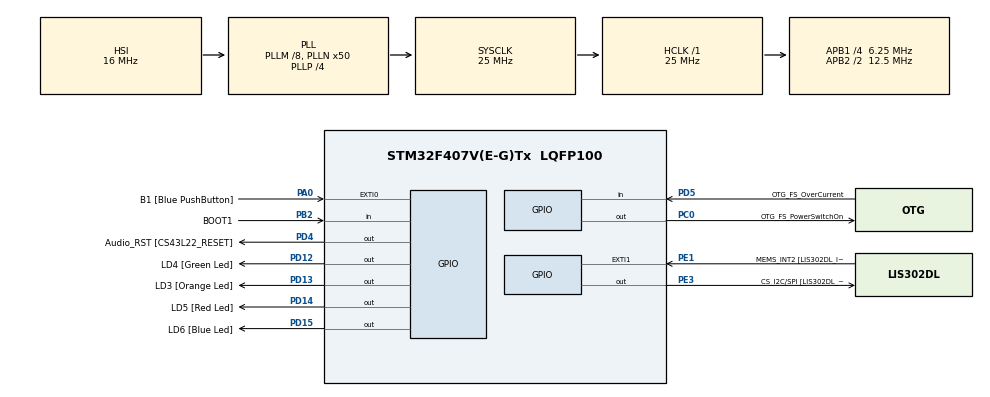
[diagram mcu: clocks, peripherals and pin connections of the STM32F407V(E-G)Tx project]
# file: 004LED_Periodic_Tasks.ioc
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Mcu.Family=STM32F4
PA11.GPIO_Speed=GPIO_SPEED_FREQ_LOW
PC3.GPIO_Mode=GPIO_MODE_AF_PP
PD12.GPIO_Label=LD4 [Green Led]
PH0-OSC_IN.Signal=RCC_OSC_IN
VP_SYS_VS_tim6.Mode=TIM6
RCC.CortexFreq_Value=25000000
PC10.GPIO_PuPd=GPIO_NOPULL
PB10.GPIO_Speed=GPIO_SPEED_FREQ_LOW
PB6.GPIO_Mode=GPIO_MODE_AF_OD
PB10.GPIO_PuPd=GPIO_NOPULL
NVIC.TIM6_DAC_IRQn=true\:0\:0\:false\:false\:true\:false\:true
PA10.GPIO_PuPd=GPIO_NOPULL
PD15.GPIO_Speed=GPIO_SPEED_FREQ_LOW
PC10.Signal=I2S3_CK
PC12.Signal=I2S3_SD
PA14.GPIO_Label=SWCLK
PA7.GPIO_Mode=GPIO_MODE_AF_PP
PC0.GPIO_Label=OTG_FS_PowerSwitchOn
PA6.GPIO_Label=SPI1_MISO [LIS302DL_SDO]
PB6.GPIO_Label=Audio_SCL [CS43L22_SCL]
PC10.GPIO_Speed=GPIO_SPEED_FREQ_LOW
PA11.GPIO_PuPd=GPIO_NOPULL
PC15-OSC32_OUT.GPIO_Label=PC15-OSC32_OUT
PC3.GPIO_Speed=GPIO_SPEED_FREQ_LOW
RCC.SYSCLKSource=RCC_SYSCLKSOURCE_PLLCLK
ProjectManager.StackSize=0x400
PA6.GPIO_Mode=GPIO_MODE_AF_PP
PD13.Signal=GPIO_Output
PD14.GPIO_Speed=GPIO_SPEED_FREQ_LOW
PA12.Signal=USB_OTG_FS_DP
RCC.HCLKFreq_Value=25000000
PD4.Signal=GPIO_Output
RCC.APB2TimFreq_Value=25000000
PB6.Signal=I2C1_SCL
PC7.Signal=I2S3_MCK
PC3.Signal=I2S2_SD
PE1.Signal=GPXTI1
RCC.AHBFreq_Value=25000000
PH0-OSC_IN.GPIO_Label=PH0-OSC_IN
PA9.GPIO_Mode=GPIO_MODE_INPUT
RCC.HSE_VALUE=8000000
PA4.GPIO_PuPd=GPIO_NOPULL
PB2.Signal=GPIO_Input
PA4.GPIO_Speed=GPIO_SPEED_FREQ_LOW
PA6.GPIO_PuPd=GPIO_NOPULL
PA5.GPIO_PuPd=GPIO_NOPULL
PA10.GPIO_Label=OTG_FS_ID
PC7.GPIO_Mode=GPIO_MODE_AF_PP
PD5.GPIO_Mode=GPIO_MODE_INPUT
PD14.GPIO_PuPd=GPIO_NOPULL
PB2.GPIO_PuPd=GPIO_NOPULL
PD13.GPIO_Label=LD3 [Orange Led]
Mcu.Package=LQFP100
PB9.Signal=I2C1_SDA
PA6.Signal=SPI1_MISO
NVIC.TimeBase=TIM6_DAC_IRQn
PD12.Signal=GPIO_Output
PD5.GPIO_Label=OTG_FS_OverCurrent
PD15.GPIO_PuPd=GPIO_NOPULL
NVIC.TimeBaseIP=TIM6
PA10.Signal=USB_OTG_FS_ID
PB9.GPIO_PuPd=GPIO_NOPULL
PA10.GPIO_Speed=GPIO_SPEED_FREQ_LOW
RCC.APB2CLKDivider=RCC_HCLK_DIV2
PB9.GPIO_Speed=GPIO_SPEED_FREQ_LOW
RCC.APB1TimFreq_Value=12500000
PC14-OSC32_IN.GPIO_Label=PC14-OSC32_IN
PC12.GPIO_PuPd=GPIO_NOPULL
PA6.GPIO_Speed=GPIO_SPEED_FREQ_LOW
PC0.GPIO_PuPd=GPIO_NOPULL
PA12.GPIO_PuPd=GPIO_NOPULL
PA4.GPIO_Label=I2S3_WS [CS43L22_LRCK]
PD15.Signal=GPIO_Output
PC0.PinState=GPIO_PIN_SET
PA12.GPIO_Speed=GPIO_SPEED_FREQ_LOW
PB3.GPIO_Label=SWO
PD12.GPIO_Speed=GPIO_SPEED_FREQ_LOW
PD15.GPIO_Label=LD6 [Blue Led]
PB9.GPIO_Label=Audio_SDA [CS43L22_SDA]
PC10.GPIO_Label=I2S3_SCK [CS43L22_SCLK]
PA9.GPIO_Label=VBUS_FS
PB6.GPIO_PuPd=GPIO_NOPULL
PA11.GPIO_Label=OTG_FS_DM
PE1.GPIO_PuPd=GPIO_NOPULL
PD5.Signal=GPIO_Input
PC0.Signal=GPIO_Output
PE1.GPIO_ModeDefaultEXTI=GPIO_MODE_EVT_RISING
RCC.APB1CLKDivider=RCC_HCLK_DIV4
PC14-OSC32_IN.Signal=RCC_OSC32_IN
PA9.GPIO_PuPd=GPIO_NOPULL
PA12.GPIO_Label=OTG_FS_DP
PA0-WKUP.GPIO_Label=B1 [Blue PushButton]
PA0-WKUP.Signal=GPXTI0
PA10.GPIO_Mode=GPIO_MODE_AF_PP
PA13.Signal=SYS_JTMS-SWDIO
PC10.GPIO_Mode=GPIO_MODE_AF_PP
PD4.GPIO_PuPd=GPIO_NOPULL
PC0.GPIO_Speed=GPIO_SPEED_FREQ_LOW
PB10.GPIO_Mode=GPIO_MODE_AF_PP
ProjectManager.TargetToolchain=STM32CubeIDE
PB10.GPIO_Label=CLK_IN [MP45DT02_CLK]
PA9.Signal=USB_OTG_FS_VBUS
PC7.GPIO_PuPd=GPIO_NOPULL
RCC.LSE_VALUE=32768
PC15-OSC32_OUT.Signal=RCC_OSC32_OUT
PA7.GPIO_PuPd=GPIO_NOPULL
PB10.Signal=I2S2_CK
PA5.Signal=SPI1_SCK
board=STM32F407G-DISC1
PD13.GPIO_Speed=GPIO_SPEED_FREQ_LOW
PC7.GPIO_Speed=GPIO_SPEED_FREQ_LOW
RCC.VCOOutputFreq_Value=100000000
PE1.GPIO_Label=MEMS_INT2 [LIS302DL_INT2]
PA7.GPIO_Speed=GPIO_SPEED_FREQ_LOW
PB9.GPIO_Mode=GPIO_MODE_AF_OD
PA12.GPIO_Mode=GPIO_MODE_AF_PP
PA4.GPIO_Mode=GPIO_MODE_AF_PP
RCC.APB2Freq_Value=12500000
PB2.GPIO_Mode=GPIO_MODE_INPUT
PD4.GPIO_Label=Audio_RST [CS43L22_RESET]
PD4.GPIO_Speed=GPIO_SPEED_FREQ_LOW
PE3.GPIO_PuPd=GPIO_NOPULL
PH1-OSC_OUT.Signal=RCC_OSC_OUT
PD13.GPIO_PuPd=GPIO_NOPULL
PD5.GPIO_PuPd=GPIO_NOPULL
PD14.GPIO_Label=LD5 [Red Led]
PH1-OSC_OUT.GPIO_Label=PH1-OSC_OUT
Mcu.Name=STM32F407V(E-G)Tx
PA13.GPIO_Label=SWDIO
PC7.GPIO_Label=I2S3_MCK [CS43L22_MCLK]
PD14.Signal=GPIO_Output
RCC.48MHZClocksFreq_Value=14285714.285714285
PB3.Signal=SYS_JTDO-SWO
PA4.Signal=I2S3_WS
RCC.SYSCLKFreq_VALUE=25000000
PC12.GPIO_Mode=GPIO_MODE_AF_PP
PA7.GPIO_Label=SPI1_MOSI [LIS302DL_SDA/SDI/SDO]
PA5.GPIO_Label=SPI1_SCK [LIS302DL_SCL/SPC]
PE3.GPIO_Speed=GPIO_SPEED_FREQ_LOW
PC12.GPIO_Label=I2S3_SD [CS43L22_SDIN]
PA11.Signal=USB_OTG_FS_DM
PA14.Signal=SYS_JTCK-SWCLK
PB2.GPIO_Label=BOOT1
ProjectManager.HeapSize=0x200
RCC.HSI_VALUE=16000000
RCC.PLLP=RCC_PLLP_DIV4
PA5.GPIO_Speed=GPIO_SPEED_FREQ_LOW
RCC.PLLQ=7
NVIC.PriorityGroup=NVIC_PRIORITYGROUP_4
RCC.PLLM=8
RCC.PLLN=50
PE3.Signal=GPIO_Output
PE3.GPIO_Label=CS_I2C/SPI [LIS302DL_CS_I2C/SPI]
PC3.GPIO_Label=PDM_OUT [MP45DT02_DOUT]
PA11.GPIO_Mode=GPIO_MODE_AF_PP
PB6.GPIO_Speed=GPIO_SPEED_FREQ_LOW
RCC.APB1Freq_Value=6250000
PA5.GPIO_Mode=GPIO_MODE_AF_PP
PC12.GPIO_Speed=GPIO_SPEED_FREQ_LOW
PC3.GPIO_PuPd=GPIO_NOPULL
PD12.GPIO_PuPd=GPIO_NOPULL
PA7.Signal=SPI1_MOSI

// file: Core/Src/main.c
/* USER CODE BEGIN Header */
/**
  ******************************************************************************
  * @file           : main.c
  * @brief          : Main program body
  ******************************************************************************
  * @attention
  *
  * <h2><center>&copy; Copyright (c) 2022 STMicroelectronics.
  * All rights reserved.</center></h2>
  *
  * This software component is licensed by ST under BSD 3-Clause license,
  * the "License"; You may not use this file except in compliance with the
  * License. You may obtain a copy of the License at:
  *                        opensource.org/licenses/BSD-3-Clause
  *
  ******************************************************************************
  */
/* USER CODE END Header */
#include "main.h"

/* USER CODE BEGIN Includes */
#include <stdio.h>
#include "FreeRTOS.h"
#include "task.h"
/* USER CODE END Includes */

/* USER CODE BEGIN PTD */
static void led_green_handler(void* parameters);
static void led_red_handler(void* parameters);
static void led_orange_handler(void* parameters);

/* USER CODE END PTD */

/* USER CODE BEGIN PM */
#define DWT_CTRL (*(volatile uint32_t*)0xE0001000)

/* USER CODE END PM */

void SystemClock_Config(void);
static void MX_GPIO_Init(void);

int main(void)
{
  /* USER CODE BEGIN 1 */
	TaskHandle_t task1_handle;

	TaskHandle_t task2_handle;

	TaskHandle_t task3_handle;

	BaseType_t status;
  /* USER CODE END 1 */

  /* MCU Configuration--------------------------------------------------------*/

  /* Reset of all peripherals, Initializes the Flash interface and the Systick. */
  HAL_Init();

  /* Configure the system clock */
  SystemClock_Config();

  /* Initialize all configured peripherals */
  MX_GPIO_Init();
  /* USER CODE BEGIN 2 */

  // Enable the CYCCNT Counter

    DWT_CTRL |= (1 << 0);

    SEGGER_SYSVIEW_Conf();

    SEGGER_SYSVIEW_Start();

    status = xTaskCreate(led_green_handler, "LED_Green_Task", 200, NULL, 2, &task1_handle);

    configASSERT(status == pdPASS);

    status = xTaskCreate(led_red_handler, "LED_Orange_Task", 200, NULL, 2, &task2_handle);

    configASSERT(status == pdPASS);

    status = xTaskCreate(led_orange_handler, "LED_Red_Task", 200, NULL, 2, &task3_handle);

    configASSERT(status == pdPASS);

    //starting freeRTOS scheduler
    vTaskStartScheduler();

  /* USER CODE END 2 */

  /* Infinite loop */
  while (1)
  {

  }
}

void SystemClock_Config(void)
{
  RCC_OscInitTypeDef RCC_OscInitStruct = {0};
  RCC_ClkInitTypeDef RCC_ClkInitStruct = {0};

  /** Configure the main internal regulator output voltage
  */
  __HAL_RCC_PWR_CLK_ENABLE();
  __HAL_PWR_VOLTAGESCALING_CONFIG(PWR_REGULATOR_VOLTAGE_SCALE1);
  /** Initializes the RCC Oscillators according to the specified parameters
  * in the RCC_OscInitTypeDef structure.
  */
  RCC_OscInitStruct.OscillatorType = RCC_OSCILLATORTYPE_HSI;
  RCC_OscInitStruct.HSIState = RCC_HSI_ON;
  RCC_OscInitStruct.HSICalibrationValue = RCC_HSICALIBRATION_DEFAULT;
  RCC_OscInitStruct.PLL.PLLState = RCC_PLL_ON;
  RCC_OscInitStruct.PLL.PLLSource = RCC_PLLSOURCE_HSI;
  RCC_OscInitStruct.PLL.PLLM = 8;
  RCC_OscInitStruct.PLL.PLLN = 50;
  RCC_OscInitStruct.PLL.PLLP = RCC_PLLP_DIV4;
  RCC_OscInitStruct.PLL.PLLQ = 7;
  if (HAL_RCC_OscConfig(&RCC_OscInitStruct) != HAL_OK)
  {
    Error_Handler();
  }
  /** Initializes the CPU, AHB and APB buses clocks
  */
  RCC_ClkInitStruct.ClockType = RCC_CLOCKTYPE_HCLK|RCC_CLOCKTYPE_SYSCLK
                              |RCC_CLOCKTYPE_PCLK1|RCC_CLOCKTYPE_PCLK2;
  RCC_ClkInitStruct.SYSCLKSource = RCC_SYSCLKSOURCE_PLLCLK;
  RCC_ClkInitStruct.AHBCLKDivider = RCC_SYSCLK_DIV1;
  RCC_ClkInitStruct.APB1CLKDivider = RCC_HCLK_DIV4;
  RCC_ClkInitStruct.APB2CLKDivider = RCC_HCLK_DIV2;

  if (HAL_RCC_ClockConfig(&RCC_ClkInitStruct, FLASH_LATENCY_0) != HAL_OK)
  {
    Error_Handler();
  }
}

static void MX_GPIO_Init(void)
{
  GPIO_InitTypeDef GPIO_InitStruct = {0};

  /* GPIO Ports Clock Enable */
  __HAL_RCC_GPIOE_CLK_ENABLE();
  __HAL_RCC_GPIOC_CLK_ENABLE();
  __HAL_RCC_GPIOH_CLK_ENABLE();
  __HAL_RCC_GPIOA_CLK_ENABLE();
  __HAL_RCC_GPIOB_CLK_ENABLE();
  __HAL_RCC_GPIOD_CLK_ENABLE();

  /*Configure GPIO pin Output Level */
  HAL_GPIO_WritePin(CS_I2C_SPI_GPIO_Port, CS_I2C_SPI_Pin, GPIO_PIN_RESET);

  /*Configure GPIO pin Output Level */
  HAL_GPIO_WritePin(OTG_FS_PowerSwitchOn_GPIO_Port, OTG_FS_PowerSwitchOn_Pin, GPIO_PIN_SET);

  /*Configure GPIO pin Output Level */
  HAL_GPIO_WritePin(GPIOD, LD4_Pin|LD3_Pin|LD5_Pin|LD6_Pin
                          |Audio_RST_Pin, GPIO_PIN_RESET);

  /*Configure GPIO pin : CS_I2C_SPI_Pin */
  GPIO_InitStruct.Pin = CS_I2C_SPI_Pin;
  GPIO_InitStruct.Mode = GPIO_MODE_OUTPUT_PP;
  GPIO_InitStruct.Pull = GPIO_NOPULL;
  GPIO_InitStruct.Speed = GPIO_SPEED_FREQ_LOW;
  HAL_GPIO_Init(CS_I2C_SPI_GPIO_Port, &GPIO_InitStruct);

  /*Configure GPIO pin : OTG_FS_PowerSwitchOn_Pin */
  GPIO_InitStruct.Pin = OTG_FS_PowerSwitchOn_Pin;
  GPIO_InitStruct.Mode = GPIO_MODE_OUTPUT_PP;
  GPIO_InitStruct.Pull = GPIO_NOPULL;
  GPIO_InitStruct.Speed = GPIO_SPEED_FREQ_LOW;
  HAL_GPIO_Init(OTG_FS_PowerSwitchOn_GPIO_Port, &GPIO_InitStruct);

  /*Configure GPIO pin : PDM_OUT_Pin */
  GPIO_InitStruct.Pin = PDM_OUT_Pin;
  GPIO_InitStruct.Mode = GPIO_MODE_AF_PP;
  GPIO_InitStruct.Pull = GPIO_NOPULL;
  GPIO_InitStruct.Speed = GPIO_SPEED_FREQ_LOW;
  GPIO_InitStruct.Alternate = GPIO_AF5_SPI2;
  HAL_GPIO_Init(PDM_OUT_GPIO_Port, &GPIO_InitStruct);

  /*Configure GPIO pin : B1_Pin */
  GPIO_InitStruct.Pin = B1_Pin;
  GPIO_InitStruct.Mode = GPIO_MODE_IT_RISING;
  GPIO_InitStruct.Pull = GPIO_NOPULL;
  HAL_GPIO_Init(B1_GPIO_Port, &GPIO_InitStruct);

  /*Configure GPIO pin : I2S3_WS_Pin */
  GPIO_InitStruct.Pin = I2S3_WS_Pin;
  GPIO_InitStruct.Mode = GPIO_MODE_AF_PP;
  GPIO_InitStruct.Pull = GPIO_NOPULL;
  GPIO_InitStruct.Speed = GPIO_SPEED_FREQ_LOW;
  GPIO_InitStruct.Alternate = GPIO_AF6_SPI3;
  HAL_GPIO_Init(I2S3_WS_GPIO_Port, &GPIO_InitStruct);

  /*Configure GPIO pins : SPI1_SCK_Pin SPI1_MISO_Pin SPI1_MOSI_Pin */
  GPIO_InitStruct.Pin = SPI1_SCK_Pin|SPI1_MISO_Pin|SPI1_MOSI_Pin;
  GPIO_InitStruct.Mode = GPIO_MODE_AF_PP;
  GPIO_InitStruct.Pull = GPIO_NOPULL;
  GPIO_InitStruct.Speed = GPIO_SPEED_FREQ_LOW;
  GPIO_InitStruct.Alternate = GPIO_AF5_SPI1;
  HAL_GPIO_Init(GPIOA, &GPIO_InitStruct);

  /*Configure GPIO pin : BOOT1_Pin */
  GPIO_InitStruct.Pin = BOOT1_Pin;
  GPIO_InitStruct.Mode = GPIO_MODE_INPUT;
  GPIO_InitStruct.Pull = GPIO_NOPULL;
  HAL_GPIO_Init(BOOT1_GPIO_Port, &GPIO_InitStruct);

  /*Configure GPIO pin : CLK_IN_Pin */
  GPIO_InitStruct.Pin = CLK_IN_Pin;
  GPIO_InitStruct.Mode = GPIO_MODE_AF_PP;
  GPIO_InitStruct.Pull = GPIO_NOPULL;
  GPIO_InitStruct.Speed = GPIO_SPEED_FREQ_LOW;
  GPIO_InitStruct.Alternate = GPIO_AF5_SPI2;
  HAL_GPIO_Init(CLK_IN_GPIO_Port, &GPIO_InitStruct);

  /*Configure GPIO pins : LD4_Pin LD3_Pin LD5_Pin LD6_Pin
                           Audio_RST_Pin */
  GPIO_InitStruct.Pin = LD4_Pin|LD3_Pin|LD5_Pin|LD6_Pin
                          |Audio_RST_Pin;
  GPIO_InitStruct.Mode = GPIO_MODE_OUTPUT_PP;
  GPIO_InitStruct.Pull = GPIO_NOPULL;
  GPIO_InitStruct.Speed = GPIO_SPEED_FREQ_LOW;
  HAL_GPIO_Init(GPIOD, &GPIO_InitStruct);

  /*Configure GPIO pins : I2S3_MCK_Pin I2S3_SCK_Pin I2S3_SD_Pin */
  GPIO_InitStruct.Pin = I2S3_MCK_Pin|I2S3_SCK_Pin|I2S3_SD_Pin;
  GPIO_InitStruct.Mode = GPIO_MODE_AF_PP;
  GPIO_InitStruct.Pull = GPIO_NOPULL;
  GPIO_InitStruct.Speed = GPIO_SPEED_FREQ_LOW;
  GPIO_InitStruct.Alternate = GPIO_AF6_SPI3;
  HAL_GPIO_Init(GPIOC, &GPIO_InitStruct);

  /*Configure GPIO pin : VBUS_FS_Pin */
  GPIO_InitStruct.Pin = VBUS_FS_Pin;
  GPIO_InitStruct.Mode = GPIO_MODE_INPUT;
  GPIO_InitStruct.Pull = GPIO_NOPULL;
  HAL_GPIO_Init(VBUS_FS_GPIO_Port, &GPIO_InitStruct);

  /*Configure GPIO pins : OTG_FS_ID_Pin OTG_FS_DM_Pin OTG_FS_DP_Pin */
  GPIO_InitStruct.Pin = OTG_FS_ID_Pin|OTG_FS_DM_Pin|OTG_FS_DP_Pin;
  GPIO_InitStruct.Mode = GPIO_MODE_AF_PP;
  GPIO_InitStruct.Pull = GPIO_NOPULL;
  GPIO_InitStruct.Speed = GPIO_SPEED_FREQ_LOW;
  GPIO_InitStruct.Alternate = GPIO_AF10_OTG_FS;
  HAL_GPIO_Init(GPIOA, &GPIO_InitStruct);

  /*Configure GPIO pin : OTG_FS_OverCurrent_Pin */
  GPIO_InitStruct.Pin = OTG_FS_OverCurrent_Pin;
  GPIO_InitStruct.Mode = GPIO_MODE_INPUT;
  GPIO_InitStruct.Pull = GPIO_NOPULL;
  HAL_GPIO_Init(OTG_FS_OverCurrent_GPIO_Port, &GPIO_InitStruct);

  /*Configure GPIO pins : Audio_SCL_Pin Audio_SDA_Pin */
  GPIO_InitStruct.Pin = Audio_SCL_Pin|Audio_SDA_Pin;
  GPIO_InitStruct.Mode = GPIO_MODE_AF_OD;
  GPIO_InitStruct.Pull = GPIO_PULLUP;
  GPIO_InitStruct.Speed = GPIO_SPEED_FREQ_LOW;
  GPIO_InitStruct.Alternate = GPIO_AF4_I2C1;
  HAL_GPIO_Init(GPIOB, &GPIO_InitStruct);

  /*Configure GPIO pin : MEMS_INT2_Pin */
  GPIO_InitStruct.Pin = MEMS_INT2_Pin;
  GPIO_InitStruct.Mode = GPIO_MODE_EVT_RISING;
  GPIO_InitStruct.Pull = GPIO_NOPULL;
  HAL_GPIO_Init(MEMS_INT2_GPIO_Port, &GPIO_InitStruct);

}

/* USER CODE BEGIN 4 */
static void led_green_handler(void* parameters)
{
	TickType_t last_wakeup_time;

	last_wakeup_time = xTaskGetTickCount();

	while(1)
	{
		HAL_GPIO_TogglePin(GPIOD, LED_GREEN_PIN);
		vTaskDelayUntil(&last_wakeup_time  ,pdMS_TO_TICKS(1000));
	}
}
static void led_red_handler(void* parameters)
{
	TickType_t last_wakeup_time;

	last_wakeup_time =  xTaskGetTickCount();

	while(1)
	{
		HAL_GPIO_TogglePin(GPIOD, LED_RED_PIN);
		vTaskDelayUntil(&last_wakeup_time  ,pdMS_TO_TICKS(400));

	}
}
static void led_orange_handler(void* parameters)
{
	TickType_t last_wakeup_time;

	last_wakeup_time = xTaskGetTickCount();

	while(1)
	{
		HAL_GPIO_TogglePin(GPIOD, LED_ORANGE_PIN);
		vTaskDelayUntil(&last_wakeup_time  ,pdMS_TO_TICKS(800));

	}
}
/* USER CODE END 4 */

 /**
  * @brief  Period elapsed callback in non blocking mode
  * @note   This function is called  when TIM6 interrupt took place, inside
  * HAL_TIM_IRQHandler(). It makes a direct call to HAL_IncTick() to increment
  * a global variable "uwTick" used as application time base.
  * @param  htim : TIM handle
  * @retval None
  */
void HAL_TIM_PeriodElapsedCallback(TIM_HandleTypeDef *htim)
{
  if (htim->Instance == TIM6) {
    HAL_IncTick();
  }
}

void Error_Handler(void)
{
  __disable_irq();
  while (1)
  {
  }
}

/************************ (C) COPYRIGHT STMicroelectronics *****END OF FILE****/
